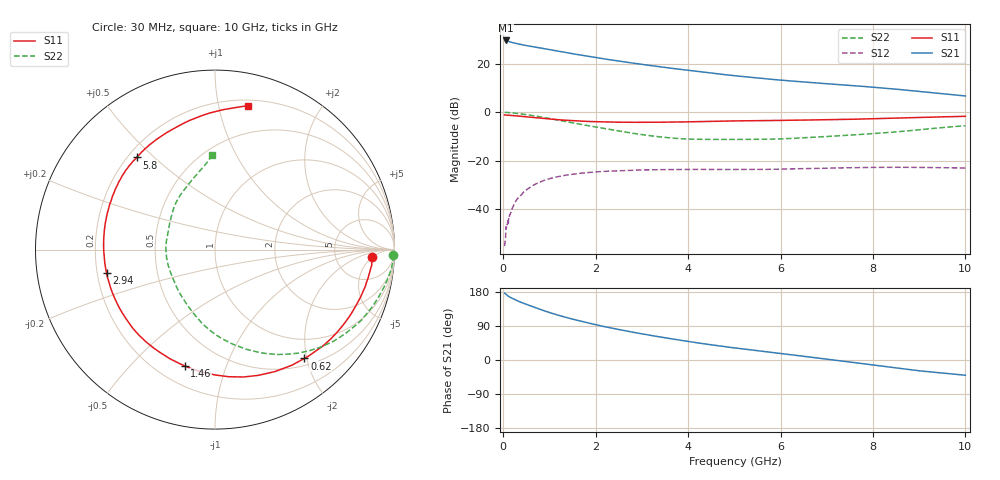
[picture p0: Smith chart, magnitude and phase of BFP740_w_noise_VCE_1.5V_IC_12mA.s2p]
! Infineon Technologies  Discrete & RF Semiconductors
! BFP740
! VCE =  1.5 V,  IC =  12 mA
! Common Emitter S-Parameters:  Jan 2016
# GHz  S  MA  R  50
!  f  S11  S21  S12  S22
! GHz  MAG  ANG  MAG  ANG  MAG  ANG  MAG  ANG
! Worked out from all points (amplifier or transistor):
!   229 points, 30 MHz to 10 GHz, reference 50 ohm
!   highest |S21| = 29.7 dB at 50 MHz (marker M1)
!   |S21| within 3 dB of that: start of sweep to 770.4 MHz
!   unconditionally stable (mu >= 1): 6.702 GHz to end of sweep
!   at 280 MHz: K = 0.16, MSG = 32.5 dB, |S12| = -36.5 dB
!   at 1.78 GHz: K = 0.36, MSG = 24.2 dB, |S12| = -25.0 dB
!   at 10 GHz: K = 1.09, MAG = 13.1 dB, |S12| = -23.1 dB
!   lowest NFmin = 0.54 dB at 450 MHz
!   S11 on the Smith chart (normalised r, x): 30 MHz: 14, -5; 620 MHz: 0.62, -1.96; 1.46 GHz: 0.31, -0.72; 2.94 GHz: 0.24, -0.10; 5.8 GHz: 0.23, +0.44; 10 GHz: 0.25, +1.22
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0.03  0.8781 -2.8  30.33 176.3  0.0017 89.5  0.9925 -1.7
0.05  0.8754 -4.5  30.45 174.3  0.0024 120.3  0.9923 -3.2
0.08  0.8731 -7.4  29.77 171.1  0.0047 89.3  0.9892 -5.2
0.13  0.864 -11.9  28.87 166.8  0.0068 89.2  0.9804 -8.4
0.24  0.8462 -21.2  26.93 159.7  0.0127 78.7  0.9555 -14.6
0.46  0.8126 -38.5  24.25 148.7  0.0231 69.0  0.9033 -26.1
0.62  0.7848 -50.6  22.8 141.4  0.0296 62.7  0.8572 -33.8
0.9  0.7412 -70.9  20.59 129.2  0.0395 52.6  0.7726 -46.7
1.2  0.6988 -89.8  18.2 117.8  0.047 43.4  0.6824 -58.9
1.46  0.6692 -104.7  16.45 109.1  0.0516 36.9  0.6133 -68.0
1.7  0.6509 -117.4  15.06 101.6  0.055 31.8  0.5561 -76.1
1.9  0.6415 -127.0  14.02 95.9  0.0573 28.2  0.5145 -82.5
2.28  0.6268 -143.6  12.26 85.7  0.0605 22.2  0.4452 -94.5
2.6  0.6208 -155.8  11.03 78.1  0.0623 17.7  0.3954 -104.1
2.94  0.6182 -167.8  9.931 70.4  0.0637 13.8  0.3509 -114.9
3.4  0.6213 177.6  8.676 60.6  0.065 9.1  0.3089 -130.7
4.1  0.6351 159.1  7.148 47.1  0.0654 3.2  0.277 -155.5
5.1  0.6622 139.9  5.564 30.4  0.0655 -2.5  0.2738 176.6
5.8  0.6739 130.4  4.789 20.0  0.0662 -5.0  0.2771 161.4
6.8  0.6947 118.1  4.012 5.4  0.069 -9.3  0.3057 142.6
8.4  0.7522 95.0  3.05 -19.5  0.0727 -18.7  0.3849 114.2
10  0.822 77.2  2.167 -40.2  0.0703 -26.4  0.5265 91.7
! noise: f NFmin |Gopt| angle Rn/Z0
0.45  0.54  0.16  4  0.16
0.9  0.55  0.16  11  0.16
1.5  0.57  0.15  22  0.15
1.9  0.6  0.15  39  0.15
2.4  0.63  0.15  46  0.14
3.5  0.73  0.13  57  0.13
5.5  0.9  0.16  211  0.12
10  1.33  0.5  -72  0.16
